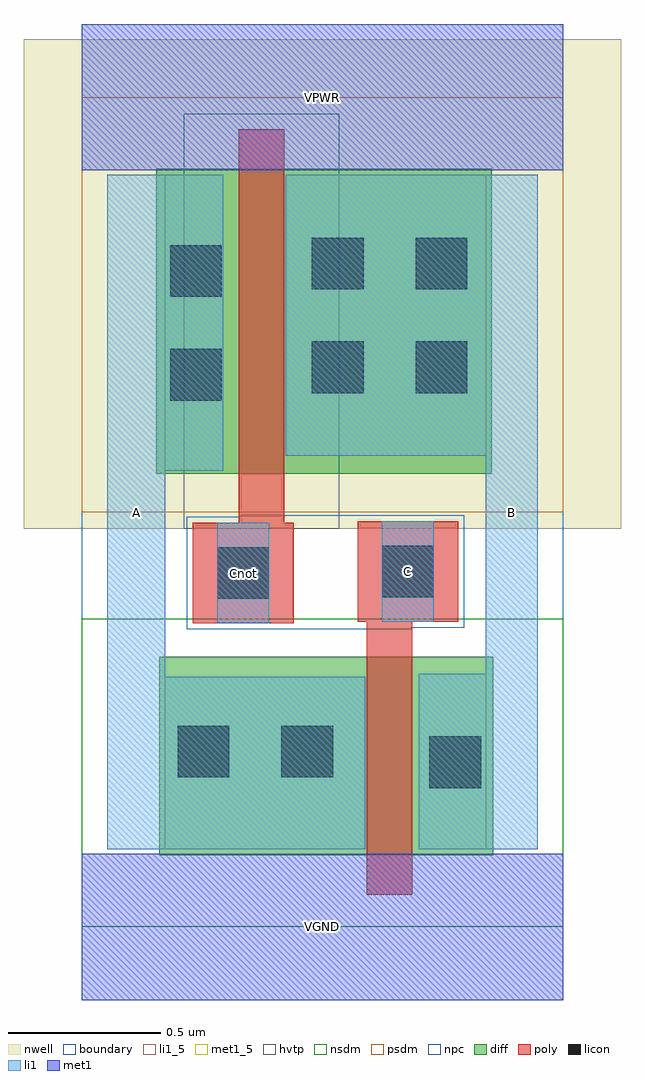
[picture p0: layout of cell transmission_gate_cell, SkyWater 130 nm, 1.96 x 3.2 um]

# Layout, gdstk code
import gdstk
lib = gdstk.Library(unit=1e-6, precision=1e-09)
def R(c, l, rs):  # rectangles x0, y0, x1, y1
    for r in rs: c.add(gdstk.rectangle(r[:2], r[2:], *l))
nwell = (64, 20)
diff = (65, 20)
poly = (66, 20)
licon = (66, 44)
li1_5 = (67, 5)
li1 = (67, 20)
met1_5 = (68, 5)
met1 = (68, 20)
hvtp = (78, 44)
nsdm = (93, 44)
psdm = (94, 20)
npc = (95, 20)
boundary = (235, 4)

transmission_gate_cell = lib.new_cell('transmission_gate_cell')
R(transmission_gate_cell, nwell, [(-0.3,1.305,1.66,2.91)])
R(transmission_gate_cell, diff, [(0.145,0.235,1.24,0.885), (0.135,1.485,1.235,2.485)])
R(transmission_gate_cell, poly, [(0.825,0.105,0.975,1), (0.255,0.995,0.585,1.325), (0.795,1,1.125,1.33), (0.405,1.325,0.555,2.615)])
R(transmission_gate_cell, licon, [(1.03,0.455,1.2,0.625), (0.205,0.49,0.375,0.66), (0.545,0.49,0.715,0.66), (0.335,1.075,0.505,1.245), (0.875,1.08,1.045,1.25), (0.18,1.725,0.35,1.895), (0.645,1.75,0.815,1.92), (0.985,1.75,1.155,1.92), (0.18,2.065,0.35,2.235), (0.645,2.09,0.815,2.26), (0.985,2.09,1.155,2.26)])
R(transmission_gate_cell, li1_5, [(-0.025,0.255,0.165,2.465), (1.215,0.255,1.385,2.465), (0.335,1.075,0.505,1.245), (0.875,1.08,1.045,1.25)])
R(transmission_gate_cell, li1, [(-0.025,0.255,0.82,0.82), (0.995,0.255,1.385,0.83), (-0.025,0.82,0.165,1.495), (1.215,0.83,1.385,1.545), (0.335,0.995,0.505,1.325), (0.875,1,1.045,1.33), (-0.025,1.495,0.355,2.465), (0.56,1.545,1.385,2.465)])
R(transmission_gate_cell, met1_5, [(-0.11,-0.24,1.47,0.24), (-0.11,2.48,1.47,2.96)])
R(transmission_gate_cell, met1, [(-0.11,-0.24,1.47,0.24), (-0.11,2.48,1.47,2.96)])
R(transmission_gate_cell, hvtp, [(0.225,1.305,0.735,2.665)])
R(transmission_gate_cell, nsdm, [(-0.11,0,1.47,1.01)])
R(transmission_gate_cell, psdm, [(-0.11,1.36,1.47,2.72)])
R(transmission_gate_cell, npc, [(0.235,0.975,0.97,0.98), (0.235,0.98,1.145,1.345), (0.41,1.345,1.145,1.35)])
R(transmission_gate_cell, boundary, [(-0.11,0,1.47,2.72)])
transmission_gate_cell.add(gdstk.Label('Cnot', (0.42,1.16), layer=67, texttype=5))
transmission_gate_cell.add(gdstk.Label('C', (0.96,1.165), layer=67, texttype=5))
transmission_gate_cell.add(gdstk.Label('A', (0.07,1.36), layer=67, texttype=5))
transmission_gate_cell.add(gdstk.Label('B', (1.3,1.36), layer=67, texttype=5))
transmission_gate_cell.add(gdstk.Label('VPWR', (0.68,2.72), layer=68, texttype=5))
transmission_gate_cell.add(gdstk.Label('VGND', (0.68,0), layer=68, texttype=5))

lib.write_gds('transmission_gate_cell.gds')
